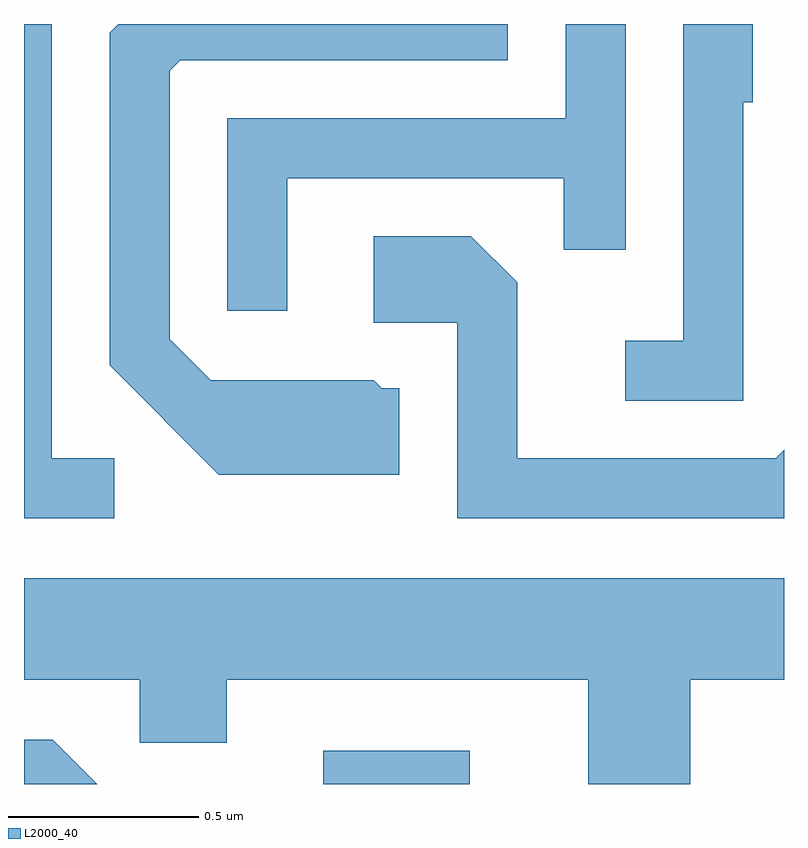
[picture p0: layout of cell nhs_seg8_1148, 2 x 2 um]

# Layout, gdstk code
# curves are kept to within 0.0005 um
import gdstk
lib = gdstk.Library(unit=1e-6, precision=1e-09)
def R(c, l, rs):  # rectangles x0, y0, x1, y1
    for r in rs: c.add(gdstk.rectangle(r[:2], r[2:], *l))
def P(c, l, *ps):  # polygons
    for p in ps: c.add(gdstk.Polygon(p, *l))
L2000_40 = (2000, 40)

nhs_seg8_1148 = lib.new_cell('nhs_seg8_1148')
R(nhs_seg8_1148, L2000_40, [(194.398,1858.342,194.784,1858.429)])
P(nhs_seg8_1148, L2000_40, [(194.599,1859.384),(194.552,1859.384),(194.532,1859.404),(194.102,1859.404),(193.994,1859.512),(193.994,1860.219),(194.022,1860.246),(194.884,1860.246),(194.884,1860.342),(193.859,1860.342),(193.836,1860.319),(193.836,1859.444),(194.124,1859.156),(194.599,1859.156)],
  [(194.304,1859.936),(195.031,1859.936),(195.031,1859.748),(195.194,1859.748),(195.194,1860.342),(195.036,1860.342),(195.036,1860.094),(194.146,1860.094),(194.146,1859.588),(194.304,1859.588)],
  [(193.848,1859.199),(193.684,1859.199),(193.684,1860.342),(193.611,1860.342),(193.611,1859.041),(193.848,1859.041)],
  [(195.504,1860.136),(195.529,1860.136),(195.529,1860.342),(195.346,1860.342),(195.346,1859.509),(195.193,1859.509),(195.193,1859.351),(195.504,1859.351)],
  [(195.611,1859.221),(195.589,1859.199),(194.909,1859.199),(194.909,1859.662),(194.787,1859.784),(194.531,1859.784),(194.531,1859.556),(194.751,1859.556),(194.751,1859.041),(195.611,1859.041)],
  [(195.364,1858.616),(195.611,1858.616),(195.611,1858.884),(193.611,1858.884),(193.611,1858.616),(193.916,1858.616),(193.916,1858.451),(194.144,1858.451),(194.144,1858.616),(195.096,1858.616),(195.096,1858.342),(195.364,1858.342)],
  [(193.687,1858.459),(193.611,1858.459),(193.611,1858.342),(193.804,1858.342)])

lib.write_gds('nhs_seg8_1148.gds')
